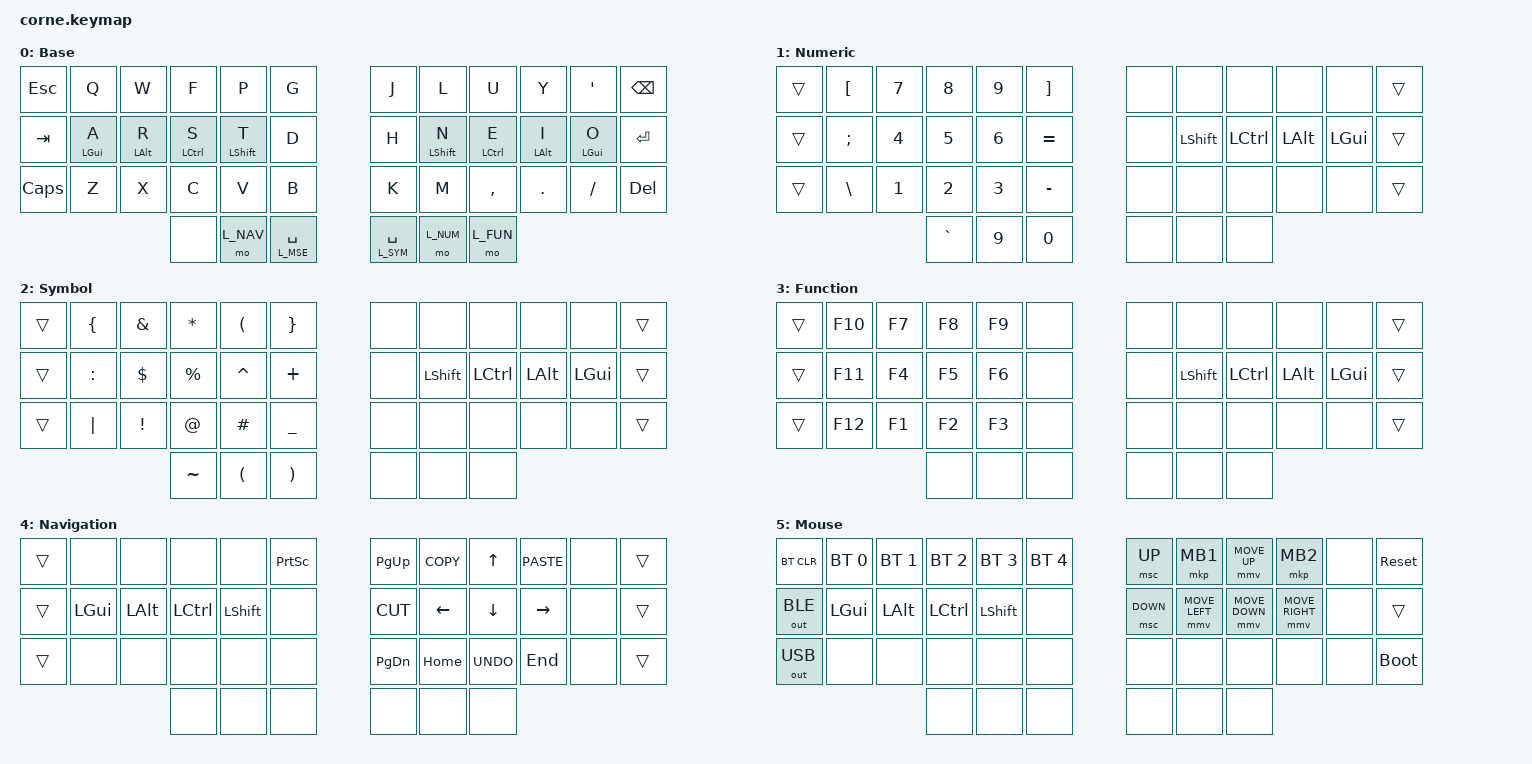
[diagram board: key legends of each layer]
/*
 * Copyright (c) 2020 The ZMK Contributors
 *
 * SPDX-License-Identifier: MIT
 */

#include <behaviors.dtsi>
#include <dt-bindings/zmk/bt.h>
#include <dt-bindings/zmk/keys.h>
#include <dt-bindings/zmk/outputs.h>
#include <dt-bindings/zmk/pointing.h>

#define L_BAS   0
#define L_NUM   1
#define L_SYM   2
#define L_FUN   3
#define L_NAV   4
#define L_MSE   5

/ {
    keymap {
        compatible = "zmk,keymap";

        default_layer {
            display-name = "Base";

            // --------------------------------------------------------------------------------
            // | ESC  |  Q  |  W  |  F  |  P  |  G  |   |  J  |  L   |  U  |  Y  |  '  | BSPC |
            // | TAB  |  A  |  R  |  S  |  T  |  D  |   |  H  |  N   |  E  |  I  |  O  | ENT  |
            // | CAPS |  Z  |  X  |  C  |  V  |  B  |   |  K  |  M   |  ,  |  .  |  /  | DEL  |
            //                    |     | NAV | MOU |   | SYM | NUM  | FUN |

            bindings = <
&kp ESC   &kp Q       &kp W       &kp F        &kp P        &kp G              &kp J            &kp L        &kp U        &kp Y       &kp SQT     &kp BSPC
&kp TAB   &mt LGUI A  &mt LALT R  &mt LCTRL S  &mt LSHFT T  &kp D              &kp H            &mt LSHFT N  &mt LCTRL E  &mt LALT I  &mt LGUI O  &kp ENTER
&kp CAPS  &kp Z       &kp X       &kp C        &kp V        &kp B              &kp K            &kp M        &kp COMMA    &kp DOT     &kp FSLH    &kp DEL
                                  &none        &mo L_NAV    &lt L_MSE SPACE    &lt L_SYM SPACE  &mo L_NUM    &mo L_FUN
            >;
        };

        numeric_layer {
            display-name = "Numeric";

            // -------------------------------------------------------------------------------------
            // |      |  [  |  7  |  8  |  9  |  ]  |   |     |       |       |      |      |      |
            // |      |  ;  |  4  |  5  |  6  |  =  |   |     | LSHFT | LCTRL | LALT | LGUI |      |
            // |      |  \  |  1  |  2  |  3  |  -  |   |     |       |       |      |      |      |
            //                    |  `  |  9  |  0  |   |     |       |       |

            bindings = <
&trans  &kp LBKT  &kp N7  &kp N8     &kp N9  &kp RBKT     &none  &none      &none      &none     &none     &trans
&trans  &kp SEMI  &kp N4  &kp N5     &kp N6  &kp EQUAL    &none  &kp LSHFT  &kp LCTRL  &kp LALT  &kp LGUI  &trans
&trans  &kp BSLH  &kp N1  &kp N2     &kp N3  &kp MINUS    &none  &none      &none      &none     &none     &trans
                          &kp GRAVE  &kp N9  &kp N0       &none  &none      &none
            >;
        };

        symbol_layer {
            display-name = "Symbol";

            // -------------------------------------------------------------------------------------
            // |      |  {  |  &  |  *  |  (  |  }  |   |     |       |       |      |      |      |
            // |      |  :  |  $  |  %  |  ^  |  +  |   |     | LSHFT | LCTRL | LALT | LGUI |      |
            // |      |  |  |  !  |  @  |  @  |  #  |   |     |       |       |      |      |      |
            //                    |     |     |     |   |     |       |       |

            bindings = <
&trans  &kp LBRC   &kp AMPS    &kp ASTRK    &kp LPAR   &kp RBRC     &none  &none      &none      &none     &none     &trans
&trans  &kp COLON  &kp DOLLAR  &kp PERCENT  &kp CARET  &kp PLUS     &none  &kp LSHFT  &kp LCTRL  &kp LALT  &kp LGUI  &trans
&trans  &kp PIPE   &kp EXCL    &kp AT       &kp HASH   &kp UNDER    &none  &none      &none      &none     &none     &trans
                               &kp TILDE    &kp LPAR   &kp RPAR     &none  &none      &none
            >;
        };

        func_layer {
            display-name = "Function";

            // -------------------------------------------------------------------------------------
            // |      | F10 |  F7 |  F8 |  F9 |  %  |   |     |       |       |      |      |      |
            // |      | F11 |  F4 |  F5 |  F6 |     |   |     | LSHFT | LCTRL | LALT | LGUI |      |
            // |      | F12 |  F1 |  F2 |  F3 |     |   |     |       |       |      |      |      |
            //                    |     |     |     |   |     |       |       |

            bindings = <
&trans  &kp F10  &kp F7  &kp F8  &kp F9  &none    &none  &none      &none      &none     &none     &trans
&trans  &kp F11  &kp F4  &kp F5  &kp F6  &none    &none  &kp LSHFT  &kp LCTRL  &kp LALT  &kp LGUI  &trans
&trans  &kp F12  &kp F1  &kp F2  &kp F3  &none    &none  &none      &none      &none     &none     &trans
                         &none   &none   &none    &none  &none      &none
            >;
        };

        nav_layer {
            display-name = "Navigation";

            // -----------------------------------------------------------------------------------
            // |      |       |       |      |      | PSCRN |   | pup  | cpy | up  | pst |   |   |
            // |      | LSHFT | LCTRL | LALT | LGUI |       |   | cut  | lft | dwn | rgt |   |   |  
            // |      |       |       |      |      |       |   | pdn  | hme | und | end |   |   |
            //                        |      |      |       |   |      |     |     |

            bindings = <
&trans  &none     &none     &none      &none      &kp PSCRN    &kp PG_UP  &kp K_COPY  &kp UP      &kp K_PASTE  &none  &trans
&trans  &kp LGUI  &kp LALT  &kp LCTRL  &kp LSHFT  &none        &kp K_CUT  &kp LEFT    &kp DOWN    &kp RIGHT    &none  &trans
&trans  &none     &none     &none      &none      &none        &kp PG_DN  &kp HOME    &kp K_UNDO  &kp END      &none  &trans
                            &none      &none      &none        &none      &none       &none
            >;
        };

        mouse_layer {
            display-name = "Mouse";

            // ----------------------------------------------------------------------------------------------------
            // | bt clr n | bt 0  | bt 1  | bt 2 | bt 3 | bt 4 |   | scup | mb1  | mup  | mb2  |     | reset      |
            // | out ble  | LSHFT | LCTRL | LALT | LGUI |      |   | scdn | mlft | mdwn | mrgt |     |            |
            // | out usb  |       |       |      |      |      |   |      |      |      |      |     | bootloader |
            //                            |      |      |      |   |      |      |      |

            bindings = <
&bt BT_CLR    &bt BT_SEL 0  &bt BT_SEL 1  &bt BT_SEL 2  &bt BT_SEL 3  &bt BT_SEL 4    &msc UP    &mkp MB1        &mmv MOVE_UP    &mkp MB2         &none  &sys_reset
&out OUT_BLE  &kp LGUI      &kp LALT      &kp LCTRL     &kp LSHFT     &none           &msc DOWN  &mmv MOVE_LEFT  &mmv MOVE_DOWN  &mmv MOVE_RIGHT  &none  &trans
&out OUT_USB  &none         &none         &none         &none         &none           &none      &none           &none           &none            &none  &bootloader
                                          &none         &none         &none           &none      &none           &none
            >;
        };
    };
};
